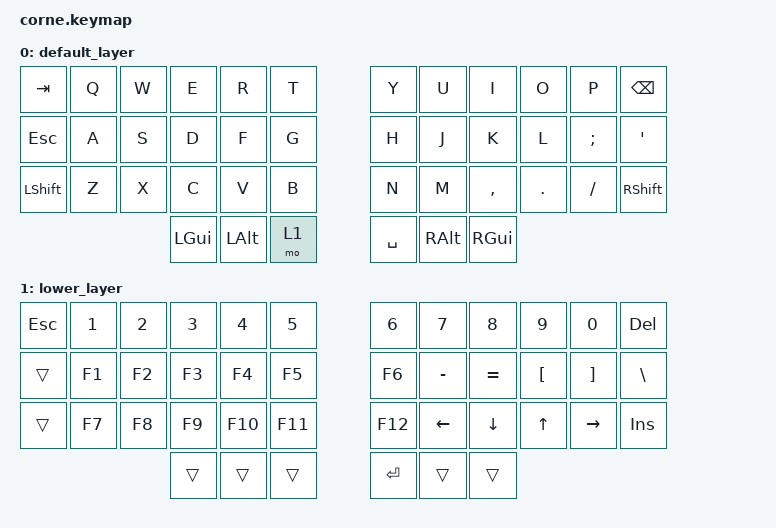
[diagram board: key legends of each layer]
#include <behaviors.dtsi>
#include <dt-bindings/zmk/keys.h>
#include <dt-bindings/zmk/modifiers.h>

/ {
    keymap {
        compatible = "zmk,keymap";

        default_layer {
            bindings = <
                &kp TAB    &kp Q    &kp W    &kp E    &kp R    &kp T        &kp Y    &kp U    &kp I    &kp O    &kp P    &kp BSPC
                &kp ESC    &kp A    &kp S    &kp D    &kp F    &kp G        &kp H    &kp J    &kp K    &kp L    &kp SEMI &kp SQT
                &kp LSHFT  &kp Z    &kp X    &kp C    &kp V    &kp B        &kp N    &kp M    &kp COMMA &kp DOT &kp SLASH &kp RSHFT
                                   &kp LGUI &kp LALT &mo 1                  &kp SPACE &kp RALT &kp RGUI
            >;
        };

        lower_layer {
            bindings = <
                &kp ESC    &kp N1   &kp N2   &kp N3   &kp N4   &kp N5       &kp N6   &kp N7   &kp N8   &kp N9   &kp N0   &kp DEL
                &trans     &kp F1   &kp F2   &kp F3   &kp F4   &kp F5       &kp F6   &kp MINUS &kp EQUAL &kp LBKT &kp RBKT &kp BSLH
                &trans     &kp F7   &kp F8   &kp F9   &kp F10  &kp F11      &kp F12  &kp LEFT &kp DOWN &kp UP   &kp RIGHT &kp INS
                                   &trans   &trans   &trans                 &kp RET  &trans   &trans
            >;
        };
    };
};
